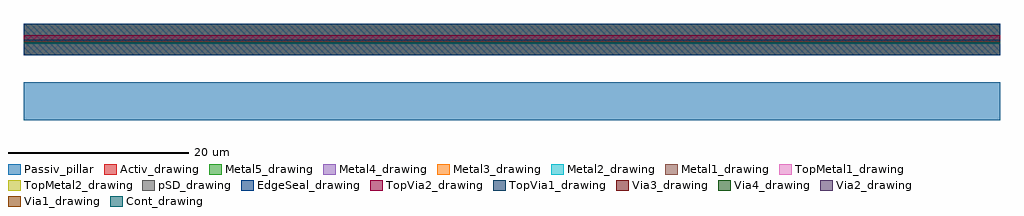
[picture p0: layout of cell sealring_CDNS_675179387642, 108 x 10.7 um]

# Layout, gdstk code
import gdstk
lib = gdstk.Library(unit=1e-6, precision=1e-09)
def R(c, l, rs):  # rectangles x0, y0, x1, y1
    for r in rs: c.add(gdstk.rectangle(r[:2], r[2:], *l))
Activ_drawing = (1, 0)
Cont_drawing = (6, 0)
Metal1_drawing = (8, 0)
Passiv_pillar = (9, 35)
Metal2_drawing = (10, 0)
pSD_drawing = (14, 0)
Via1_drawing = (19, 0)
Via2_drawing = (29, 0)
Metal3_drawing = (30, 0)
EdgeSeal_drawing = (39, 0)
Via3_drawing = (49, 0)
Metal4_drawing = (50, 0)
Via4_drawing = (66, 0)
Metal5_drawing = (67, 0)
TopVia1_drawing = (125, 0)
TopMetal1_drawing = (126, 0)
TopVia2_drawing = (133, 0)
TopMetal2_drawing = (134, 0)

sealring_cdns_6751793876 = lib.new_cell('sealring_CDNS_675179387642')
R(sealring_cdns_6751793876, Activ_drawing, [(0,0,108,3.5)])
R(sealring_cdns_6751793876, Cont_drawing, [(0,1.3,108,1.46)])
R(sealring_cdns_6751793876, Metal1_drawing, [(0,0,108,3.5)])
R(sealring_cdns_6751793876, Passiv_pillar, [(0,-7.2,108,-3)])
R(sealring_cdns_6751793876, Metal2_drawing, [(0,0,108,3.5)])
R(sealring_cdns_6751793876, pSD_drawing, [(0,0,108,3.5)])
R(sealring_cdns_6751793876, Via1_drawing, [(0,1.3,108,1.49)])
R(sealring_cdns_6751793876, Via2_drawing, [(0,1.3,108,1.49)])
R(sealring_cdns_6751793876, Metal3_drawing, [(0,0,108,3.5)])
R(sealring_cdns_6751793876, EdgeSeal_drawing, [(0,0,108,3.5)])
R(sealring_cdns_6751793876, Via3_drawing, [(0,1.3,108,1.49)])
R(sealring_cdns_6751793876, Metal4_drawing, [(0,0,108,3.5)])
R(sealring_cdns_6751793876, Via4_drawing, [(0,1.3,108,1.49)])
R(sealring_cdns_6751793876, Metal5_drawing, [(0,0,108,3.5)])
R(sealring_cdns_6751793876, TopVia1_drawing, [(0,1.3,108,1.72)])
R(sealring_cdns_6751793876, TopMetal1_drawing, [(0,0,108,3.5)])
R(sealring_cdns_6751793876, TopVia2_drawing, [(0,1.3,108,2.2)])
R(sealring_cdns_6751793876, TopMetal2_drawing, [(0,0,108,3.5)])

lib.write_gds('sealring_CDNS_675179387642.gds')
